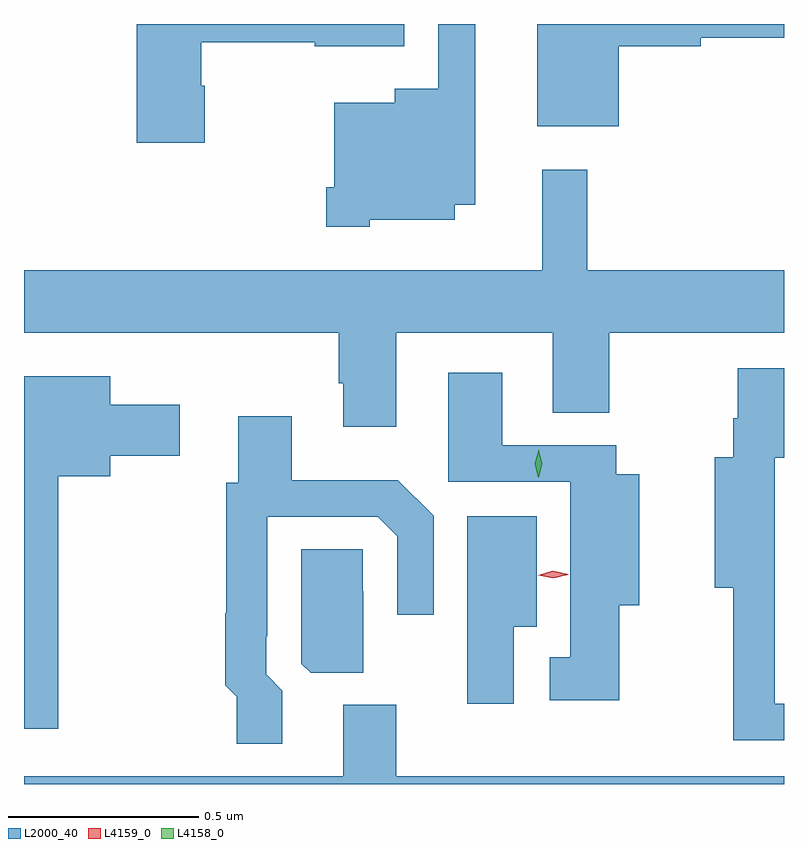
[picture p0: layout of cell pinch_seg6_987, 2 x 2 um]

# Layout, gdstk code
import gdstk
lib = gdstk.Library(unit=1e-6, precision=1e-09)
def P(c, l, *ps):  # polygons
    for p in ps: c.add(gdstk.Polygon(p, *l))
L2000_40 = (2000, 40)
L4158_0 = (4158, 0)
L4159_0 = (4159, 0)

pinch_seg6_987 = lib.new_cell('pinch_seg6_987')
P(pinch_seg6_987, L2000_40, [(262.737,919.661),(262.96,919.661),(262.96,919.7),(263.014,919.7),(263.014,920.176),(262.917,920.176),(262.917,920.005),(262.802,920.005),(262.802,919.969),(262.643,919.969),(262.643,919.747),(262.622,919.747),(262.622,919.643),(262.737,919.643)],
  [(263.392,920.117),(263.608,920.117),(263.608,920.14),(263.827,920.14),(263.827,920.176),(263.177,920.176),(263.177,919.907),(263.392,919.907)],
  [(262.302,920.013),(262.294,920.013),(262.294,920.128),(262.592,920.128),(262.592,920.117),(262.828,920.117),(262.828,920.176),(262.124,920.176),(262.124,919.863),(262.302,919.863)],
  [(262.807,919.364),(263.219,919.364),(263.219,919.153),(263.367,919.153),(263.367,919.364),(263.827,919.364),(263.827,919.528),(263.309,919.528),(263.309,919.792),(263.191,919.792),(263.191,919.528),(261.827,919.528),(261.827,919.364),(262.655,919.364),(262.655,919.231),(262.667,919.231),(262.667,919.116),(262.807,919.116)],
  [(263.827,918.387),(263.802,918.387),(263.802,918.796),(263.803,918.796),(263.803,919.034),(263.827,919.034),(263.827,919.27),(263.705,919.27),(263.705,919.138),(263.694,919.138),(263.694,919.036),(263.645,919.036),(263.645,918.692),(263.694,918.692),(263.694,918.291),(263.827,918.291)],
  [(263.394,918.647),(263.446,918.647),(263.446,918.991),(263.386,918.991),(263.386,919.068),(263.086,919.068),(263.086,919.258),(262.943,919.258),(262.943,918.972),(263.264,918.972),(263.264,918.509),(263.211,918.509),(263.211,918.396),(263.394,918.396)],
  [(261.917,918.986),(262.054,918.986),(262.054,919.04),(262.237,919.04),(262.237,919.174),(262.054,919.174),(262.054,919.249),(261.827,919.249),(261.827,918.321),(261.917,918.321)],
  [(262.507,918.422),(262.464,918.465),(262.464,918.565),(262.467,918.565),(262.467,918.879),(262.758,918.879),(262.809,918.828),(262.809,918.621),(262.905,918.621),(262.905,918.882),(262.811,918.976),(262.531,918.976),(262.531,919.144),(262.391,919.144),(262.391,918.969),(262.359,918.969),(262.359,918.626),(262.356,918.626),(262.356,918.436),(262.387,918.405),(262.387,918.282),(262.507,918.282)],
  [(263.116,918.59),(263.176,918.59),(263.176,918.88),(262.994,918.88),(262.994,918.387),(263.116,918.387)],
  [(262.72,918.683),(262.719,918.683),(262.719,918.794),(262.557,918.794),(262.557,918.492),(262.581,918.469),(262.72,918.469)],
  [(263.827,918.196),(262.807,918.196),(262.807,918.384),(262.667,918.384),(262.667,918.196),(261.827,918.196),(261.827,918.176),(263.827,918.176)])
P(pinch_seg6_987, L4158_0, [(263.18,918.983),(263.171,919.019),(263.181,919.055),(263.181,919.055),(263.181,919.055),(263.191,919.019),(263.181,918.983),(263.181,918.983)])
P(pinch_seg6_987, L4159_0, [(263.22,918.717),(263.18,918.725),(263.18,918.726),(263.18,918.726),(263.219,918.737),(263.259,918.728),(263.259,918.728),(263.259,918.727)])

lib.write_gds('pinch_seg6_987.gds')
